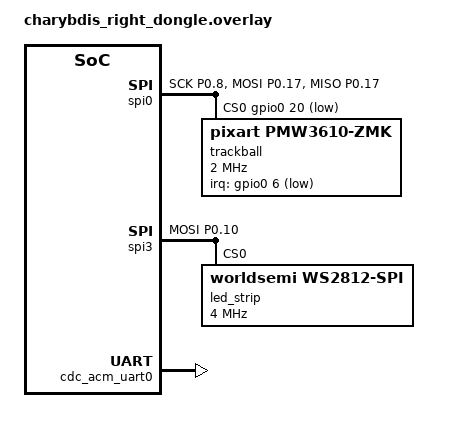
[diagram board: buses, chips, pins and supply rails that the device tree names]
/*
 * ДОНГЛ-ВАРИАНТ. Копия charybdis_right.overlay, роль — peripheral.
 * Основной прямой BLE-режим этим файлом не затрагивается.
 */
/*
 * Copyright (c) 2020 ZMK Contributors
 *
 * SPDX-License-Identifier: MIT
 */
 
#include "charybdis_dongle_common.dtsi"
#include <zephyr/dt-bindings/input/input-event-codes.h>
#include <input/processors.dtsi>
#include <dt-bindings/zmk/input_transform.h>

&default_transform {
    col-offset = <6>;
}; 

&kscan0 {
	col-gpios
		= <&gpio0 2 GPIO_ACTIVE_HIGH>
		, <&gpio0 29 GPIO_ACTIVE_HIGH>
		, <&gpio0 9 GPIO_ACTIVE_HIGH>
		, <&gpio1 0  GPIO_ACTIVE_HIGH>
		, <&gpio0 11 GPIO_ACTIVE_HIGH>
		, <&gpio1 4  GPIO_ACTIVE_HIGH>
		;
};

// trackball
&pinctrl {
    spi0_default: spi0_default {
        group1 {
            psels = <NRF_PSEL(SPIM_SCK, 0, 8)>,
                <NRF_PSEL(SPIM_MOSI, 0, 17)>,
                <NRF_PSEL(SPIM_MISO, 0, 17)>;
        };
    };

    spi0_sleep: spi0_sleep {
        group1 {
            psels = <NRF_PSEL(SPIM_SCK, 0, 8)>,
                <NRF_PSEL(SPIM_MOSI, 0, 17)>,
                <NRF_PSEL(SPIM_MISO, 0, 17)>;
            low-power-enable;
        };
    };
};

&spi0 {
    status = "okay";
    compatible = "nordic,nrf-spim";
    pinctrl-0 = <&spi0_default>;
    pinctrl-1 = <&spi0_sleep>;
    pinctrl-names = "default", "sleep";
    cs-gpios = <&gpio0 20 GPIO_ACTIVE_LOW>;

    trackball: trackball@0 {
        status = "okay";
        compatible = "pixart,pmw3610-zmk";
        reg = <0>;
        spi-max-frequency = <2000000>;
        irq-gpios = <&gpio0 6 (GPIO_ACTIVE_LOW | GPIO_PULL_UP)>;
        /*
         * *-layers здесь НАМЕРЕННО не заданы, в отличие от основного варианта.
         * Драйвер выбирает режим через zmk_keymap_highest_layer_active(), но на
         * периферии раскладки нет: keymap.c собирается только для central
         * (app/CMakeLists.txt в ZMK). Драйвер это учитывает — на периферии он
         * всегда работает в режиме MOVE.
         *
         * snipe, scroll и auto mouse layer реализованы на донгле через
         * input-processors, см. charybdis_dongle.overlay.
         * Caret-режима в донгл-варианте нет — воспроизвести его нечем.
         */
    };
};


//RGB bus
&pinctrl {
    spi3_default: spi3_default {
        group1 {
            psels = <NRF_PSEL(SPIM_MOSI, 0, 10)>;
        };
    };

    spi3_sleep: spi3_sleep {
        group1 {
            psels = <NRF_PSEL(SPIM_MOSI, 0, 10)>;
            low-power-enable;
        };
    };
};

&spi3 {
    compatible = "nordic,nrf-spim";
    status = "okay";

    pinctrl-0 = <&spi3_default>;
    pinctrl-1 = <&spi3_sleep>;
    pinctrl-names = "default", "sleep";

    led_strip: ws2812@0 {
        compatible = "worldsemi,ws2812-spi";

        /* SPI */
        reg = <0>; /* ignored, but necessary for SPI bindings */
        spi-max-frequency = <4000000>;

        /* WS2812 */
        chain-length = <27>; /* number of LEDs */
        spi-one-frame = <0x70>;
        spi-zero-frame = <0x40>;
        color-mapping = <LED_COLOR_ID_GREEN
                         LED_COLOR_ID_RED
                         LED_COLOR_ID_BLUE>;
    };
};



&zephyr_udc0 {
    cdc_acm_uart0: cdc_acm_uart0 {
        compatible = "zephyr,cdc-acm-uart";
    };
};

/ {
    chosen {
        zephyr,console = &cdc_acm_uart0;
    };

    /*
     * Проброс трекбола на донгл. Сам сенсор остаётся здесь, а вся обработка
     * (auto mouse layer, snipe, scroll) живёт на донгле — периферия не знает
     * активного слоя, ZMK состояние слоёв на неё не передаёт.
     *
     * reg должен совпадать с приёмником в charybdis_dongle.overlay.
     */
    /*
     * Проброс трекбола на донгл. Сенсор остаётся здесь, вся обработка
     * (auto mouse layer, snipe, scroll) живёт на донгле: периферия не знает
     * активного слоя — ZMK состояние слоёв на неё не передаёт.
     *
     * reg должен совпадать с приёмником в charybdis_dongle.overlay.
     */
    trackball_split: trackball_split@0 {
        compatible = "zmk,input-split";
        reg = <0>;
        device = <&trackball>;
    };
};
